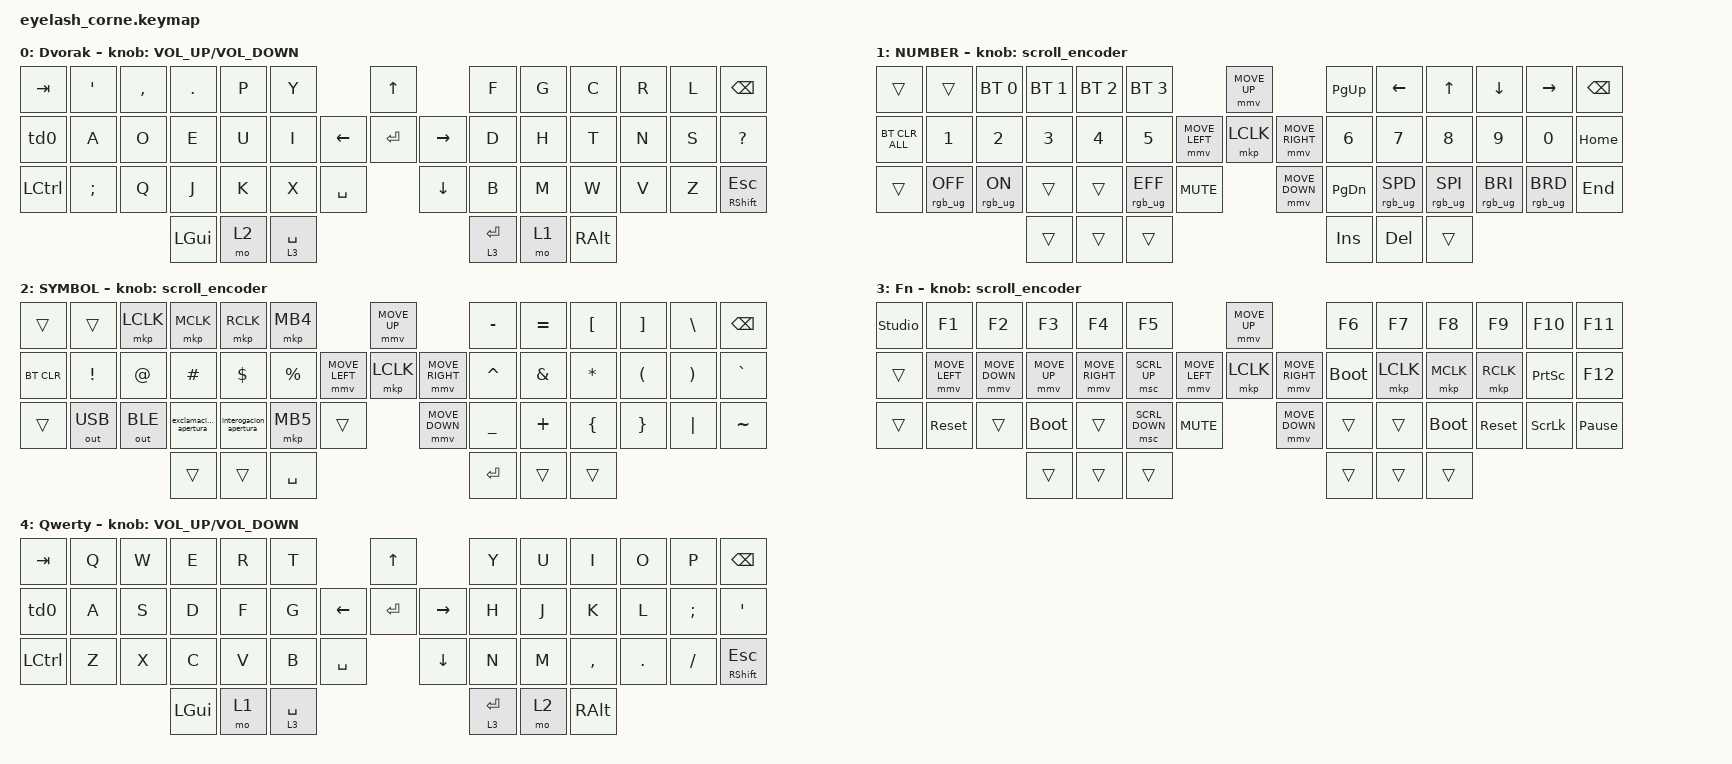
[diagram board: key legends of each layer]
#include <dt-bindings/zmk/mouse.h>
#include <input/processors.dtsi>
#include <behaviors.dtsi>
#include <dt-bindings/zmk/bt.h>
#include <dt-bindings/zmk/keys.h>
#include <dt-bindings/zmk/outputs.h>
#include <dt-bindings/zmk/pointing.h>
#include <dt-bindings/zmk/pointing.h>
#include <dt-bindings/zmk/pointing.h>
#include <dt-bindings/zmk/rgb.h>

/*

   &mmv_input_listener {
       input-processors = <&zip_xy_scaler 2 1>;
   };

   &msc_input_listener {
       input-processors = <&zip_xy_scaler 2 1>;
   };

 */

#define ZMK_MOUSE_DEFAULT_MOVE_VAL 1200  // 600
#define ZMK_MOUSE_DEFAULT_SCRL_VAL 20    // 10

/ {
    behaviors {
        td0: td0 {
            compatible = "zmk,behavior-tap-dance";
            display-name = "Shift/Caps Lock Tap Dance";
            #binding-cells = <0>;
            bindings = <&kp LEFT_SHIFT>, <&kp CAPS>;
        };
    };

    rgb_encoder: rgb_encoder {
        compatible = "zmk,behavior-sensor-rotate";
        #sensor-binding-cells = <0>;
        bindings = <&rgb_ug RGB_BRI>, <&rgb_ug RGB_BRD>;
    };

    scroll_encoder: scroll_encoder {
        compatible = "zmk,behavior-sensor-rotate";
        #sensor-binding-cells = <0>;
        bindings = <&msc SCRL_DOWN>, <&msc SCRL_UP>;

        tap-ms = <30>;
    };

    macros {
        interogacion_apertura: interogacion_apertura {
            compatible = "zmk,behavior-macro";
            #binding-cells = <0>;
            bindings =
                <&macro_press>,
                <&kp RIGHT_ALT>,
                <&macro_tap>,
                <&kp KP_NUMBER_1 &kp KP_NUMBER_6 &kp KP_NUMBER_8>,
                <&macro_release>,
                <&kp RALT>;

            label = "INTEROGACION_APERTURA";
        };

        exclamacion_apertura: exclamacion_apertura {
            compatible = "zmk,behavior-macro";
            #binding-cells = <0>;
            bindings =
                <&macro_press>,
                <&kp RIGHT_ALT>,
                <&macro_tap>,
                <&kp KP_NUMBER_1 &kp KP_NUMBER_7 &kp KP_NUMBER_3>,
                <&macro_release>,
                <&kp RALT>;

            label = "EXCLAMACION_APERTURA";
            wait-ms = <0>;
        };
    };

    combos {
        compatible = "zmk,combos";

        to_QWERTY {
            bindings = <&to 4>;
            key-positions = <43 46>;
            layers = <0>;
        };

        to_DVORAK {
            bindings = <&to 0>;
            key-positions = <43 46>;
            layers = <4>;
        };
    };

    keymap {
        compatible = "zmk,keymap";

        default_layer {
            display-name = "Dvorak";
            bindings = <
&kp TAB    &kp SQT        &kp COMMA  &kp PERIOD  &kp P  &kp Y                               &kp UP                &kp F        &kp G  &kp C     &kp R  &kp L  &kp BSPC
&td0       &kp A          &kp O      &kp E       &kp U  &kp I                     &kp LEFT  &kp ENTER  &kp RIGHT  &kp D        &kp H  &kp T     &kp N  &kp S  &kp QMARK
&kp LCTRL  &kp SEMICOLON  &kp Q      &kp J       &kp K  &kp X        &kp SPACE              &kp DOWN              &kp B        &kp M  &kp W     &kp V  &kp Z  &mt RSHIFT ESC
                                     &kp LGUI    &mo 2  &lt 3 SPACE                                               &lt 3 ENTER  &mo 1  &kp RALT
            >;

            sensor-bindings = <&inc_dec_kp C_VOLUME_UP C_VOLUME_DOWN>;
        };

        layer_4 {
            display-name = "NUMBER";
            bindings = <
&trans          &trans           &bt BT_SEL 0    &bt BT_SEL 1  &bt BT_SEL 2  &bt BT_SEL 3                                   &mmv MOVE_UP                     &kp PG_UP      &kp LEFT         &kp UP_ARROW     &kp DOWN         &kp RIGHT        &kp BSPC
&bt BT_CLR_ALL  &kp N1           &kp N2          &kp N3        &kp N4        &kp N5                         &mmv MOVE_LEFT  &mkp LCLK       &mmv MOVE_RIGHT  &kp N6         &kp N7           &kp N8           &kp N9           &kp N0           &kp HOME
&trans          &rgb_ug RGB_OFF  &rgb_ug RGB_ON  &trans        &trans        &rgb_ug RGB_EFF  &kp C_MUTE                    &mmv MOVE_DOWN                   &kp PAGE_DOWN  &rgb_ug RGB_SPD  &rgb_ug RGB_SPI  &rgb_ug RGB_BRI  &rgb_ug RGB_BRD  &kp END
                                                 &trans        &trans        &trans                                                                          &kp INS        &kp DEL          &trans
            >;

            sensor-bindings = <&scroll_encoder>;
        };

        layer_5 {
            display-name = "SYMBOL";
            bindings = <
&trans      &trans        &mkp LCLK     &mkp MCLK              &mkp RCLK               &mkp MB4                               &mmv MOVE_UP                     &kp MINUS  &kp EQUAL  &kp LEFT_BRACKET  &kp RIGHT_BRACKET     &kp BACKSLASH          &kp BSPC
&bt BT_CLR  &kp EXCL      &kp AT        &kp HASH               &kp DOLLAR              &kp PERCENT            &mmv MOVE_LEFT  &mkp LCLK       &mmv MOVE_RIGHT  &kp CARET  &kp AMPS   &kp ASTERISK      &kp LEFT_PARENTHESIS  &kp RIGHT_PARENTHESIS  &kp GRAVE
&trans      &out OUT_USB  &out OUT_BLE  &exclamacion_apertura  &interogacion_apertura  &mkp MB5     &trans                    &mmv MOVE_DOWN                   &kp UNDER  &kp PLUS   &kp LBRC          &kp RBRC              &kp PIPE               &kp TILDE
                                        &trans                 &trans                  &kp SPACE                                                               &kp RET    &trans     &trans
            >;

            sensor-bindings = <&scroll_encoder>;
        };

        layer_3 {
            display-name = "Fn";
            bindings = <
&studio_unlock  &kp F1          &kp F2          &kp F3        &kp F4           &kp F5                                        &mmv MOVE_UP                     &kp F6       &kp F7     &kp F8       &kp F9      &kp F10          &kp F11
&trans          &mmv MOVE_LEFT  &mmv MOVE_DOWN  &mmv MOVE_UP  &mmv MOVE_RIGHT  &msc SCRL_UP                  &mmv MOVE_LEFT  &mkp LCLK       &mmv MOVE_RIGHT  &bootloader  &mkp LCLK  &mkp MCLK    &mkp RCLK   &kp PRINTSCREEN  &kp F12
&trans          &sys_reset      &trans          &bootloader   &trans           &msc SCRL_DOWN  &kp C_MUTE                    &mmv MOVE_DOWN                   &trans       &trans     &bootloader  &sys_reset  &kp SCROLLLOCK   &kp PAUSE_BREAK
                                                &trans        &trans           &trans                                                                         &trans       &trans     &trans
            >;

            sensor-bindings = <&scroll_encoder>;
        };

        layer_7 {
            display-name = "Qwerty";
            bindings = <
&kp TAB    &kp Q  &kp W  &kp E     &kp R  &kp T                               &kp UP                &kp Y        &kp U  &kp I      &kp O    &kp P     &kp BSPC
&td0       &kp A  &kp S  &kp D     &kp F  &kp G                     &kp LEFT  &kp ENTER  &kp RIGHT  &kp H        &kp J  &kp K      &kp L    &kp SEMI  &kp APOS
&kp LCTRL  &kp Z  &kp X  &kp C     &kp V  &kp B        &kp SPACE              &kp DOWN              &kp N        &kp M  &kp COMMA  &kp DOT  &kp FSLH  &mt RIGHT_SHIFT ESC
                         &kp LGUI  &mo 1  &lt 3 SPACE                                               &lt 3 ENTER  &mo 2  &kp RALT
            >;

            sensor-bindings = <&inc_dec_kp C_VOLUME_UP C_VOLUME_DOWN>;
        };
    };
};
